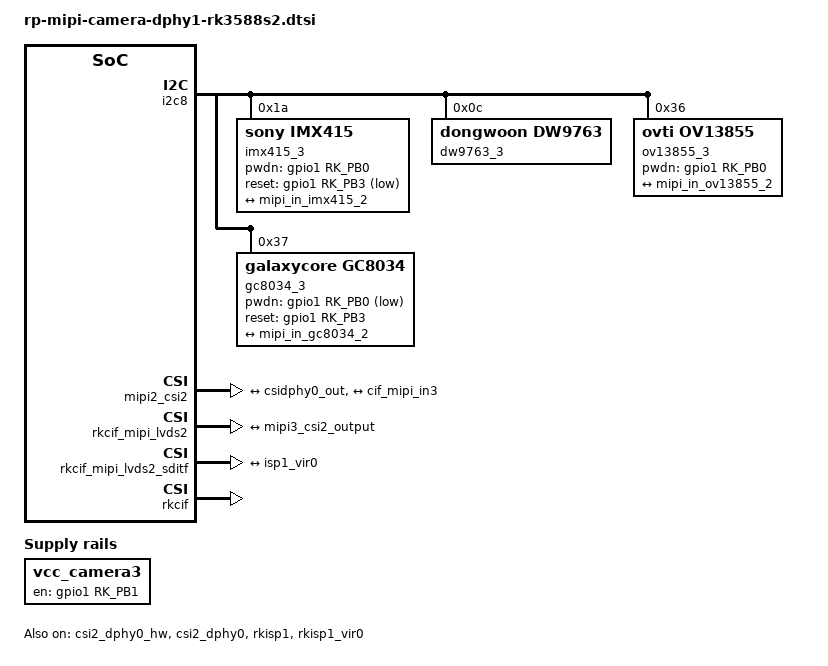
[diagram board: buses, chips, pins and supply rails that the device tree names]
/{
    vcc_camera3: vcc-camera-regulator3 {
                compatible = "regulator-fixed";
                gpio = <&gpio1 RK_PB1 GPIO_ACTIVE_HIGH>;
                pinctrl-names = "default";
                pinctrl-0 = <&camera_pwr3>;
                regulator-name = "vcc_camera3";
                enable-active-high;
                regulator-always-on;
                regulator-boot-on;
    };          
};
         
    &pinctrl {  
                camera_pwr3: camera-pwr3 {
                        rockchip,pins =
                                /* camera power en */
                                <1 RK_PB1 3 &pcfg_pull_down>;
                };
};

&i2c8 {
	status = "okay";
	pinctrl-names = "default";
	pinctrl-0 = <&i2c8m2_xfer>;
	
     imx415_3: imx415_3@1a {
        compatible = "sony,imx415";
        status = "okay";
        reg = <0x1a>;
        clocks = <&cru CLK_MIPI_CAMARAOUT_M2>;
        clock-names = "xvclk";
        power-domains = <&power RK3588_PD_VI>;
        pinctrl-names = "default";
        pinctrl-0 = <&mipim1_camera2_clk>;
        rockchip,grf = <&sys_grf>;
        pwdn-gpios = <&gpio1 RK_PB0 GPIO_ACTIVE_HIGH>;
        //power-gpios = <&gpio1 RK_PA4 GPIO_ACTIVE_HIGH>;
        reset-gpios = <&gpio1 RK_PB3 GPIO_ACTIVE_LOW>;
        rockchip,camera-module-index = <3>;
        rockchip,camera-module-facing = "BACK";
        rockchip,camera-module-name = "CMK-OT2022-PX1";
        rockchip,camera-module-lens-name = "IR0147-50IRC-8M-F20";
        port {
            imx415_out2: endpoint {
                remote-endpoint = <&mipi_in_imx415_2>;
                data-lanes = <1 2 3 4>;
            };
        };
    };
	
        dw9763_3: dw9763_3@c {
            compatible = "dongwoon,dw9763";
            status = "okay";
            reg = <0x0c>;
            rockchip,vcm-max-current = <120>;
            rockchip,vcm-start-current = <20>;
            rockchip,vcm-rated-current = <90>;
            rockchip,vcm-step-mode = <3>;
            rockchip,vcm-t-src = <0x20>;
            rockchip,vcm-t-div = <1>;
            rockchip,camera-module-index = <3>;
            rockchip,camera-module-facing = "back";
        };

        ov13855_3: ov13855_3@36 {
            compatible = "ovti,ov13855";
            status = "okay";
            reg = <0x36>;
            clocks = <&cru CLK_MIPI_CAMARAOUT_M2>;
            clock-names = "xvclk";
            power-domains = <&power RK3588_PD_VI>;
            pinctrl-names = "default";
            pinctrl-0 = <&mipim1_camera2_clk>;
            rockchip,grf = <&sys_grf>;
            pwdn-gpios = <&gpio1 RK_PB0 GPIO_ACTIVE_HIGH>;
            rockchip,camera-module-index = <3>;
            rockchip,camera-module-facing = "back";
            rockchip,camera-module-name = "CMK-OT2016-FV1";
            rockchip,camera-module-lens-name = "default";
            lens-focus = <&dw9763_3>;
            port {
                ov13855_out2: endpoint {
                    remote-endpoint = <&mipi_in_ov13855_2>;
                    data-lanes = <1 2 3 4>;
                };
            };
        };

	      gc8034_3: gc8034_3@37 {
                compatible = "galaxycore,gc8034";
                status = "okay";
                reg = <0x37>;
                clocks = <&cru CLK_MIPI_CAMARAOUT_M2>;
                clock-names = "xvclk";
                power-domains = <&power RK3588_PD_VI>;
                pinctrl-names = "default";
                pinctrl-0 = <&mipim1_camera2_clk>;
                rockchip,grf = <&sys_grf>;
                pwdn-gpios = <&gpio1 RK_PB0 GPIO_ACTIVE_LOW>;
				reset-gpios = <&gpio1 RK_PB3 GPIO_ACTIVE_HIGH>;
                rockchip,camera-module-index = <3>;
                rockchip,camera-module-facing = "back";
                rockchip,camera-module-name = "RK-CMK-8M-2-v1";
                rockchip,camera-module-lens-name = "CK8401-4";
                port {
                        gc8034_out2: endpoint {
                                remote-endpoint = <&mipi_in_gc8034_2>;
                                data-lanes = <1 2 3 4>;
                        };
                };
        };
};

&csi2_dphy0_hw {
    status = "okay";
};

&csi2_dphy0 {
	status = "okay";
	ports {
		#address-cells = <1>;
		#size-cells = <0>;
		port@0 {
			reg = <0>;
			#address-cells = <1>;
			#size-cells = <0>;
			mipi_in_imx415_2: endpoint@1 {
				reg = <1>;
				remote-endpoint = <&imx415_out2>;
				data-lanes = <1 2 3 4>;
			};
			mipi_in_ov13855_2: endpoint@2 {
                reg = <2>;
                remote-endpoint = <&ov13855_out2>;
                data-lanes = <1 2 3 4>;
            };
			mipi_in_gc8034_2: endpoint@3 {
                reg = <3>;
                remote-endpoint = <&gc8034_out2>;
                data-lanes = <1 2 3 4>;
            };
		};
		port@1 {
			reg = <1>;
			#address-cells = <1>;
			#size-cells = <0>;
			csidphy0_out: endpoint@0 {
				reg = <0>;
				remote-endpoint = <&mipi2_csi2_input>;
			};
		};
	};
};

&mipi2_csi2 {
	status = "okay";
	ports {
		#address-cells = <1>;
		#size-cells = <0>;
		port@0 {
			reg = <0>;
			#address-cells = <1>;
			#size-cells = <0>;
			mipi2_csi2_input: endpoint@1 {
				reg = <1>;
				remote-endpoint = <&csidphy0_out>;
			};
		};
		port@1 {
			reg = <1>;
			#address-cells = <1>;
			#size-cells = <0>;
			mipi3_csi2_output: endpoint@0 {
				reg = <0>;
				remote-endpoint = <&cif_mipi_in3>;
			};
		};
	};
};


&rkcif_mipi_lvds2 {
	status = "okay";

	port {
		cif_mipi_in3: endpoint {
			remote-endpoint = <&mipi3_csi2_output>;
		};
	};
};


&rkcif_mipi_lvds2_sditf {
	status = "okay";

	port {
		mipi2_lvds_sditf: endpoint {
			remote-endpoint = <&isp1_vir0>;
		};
	};
};

&rkcif {
        status = "okay";
};

&rkcif_mmu {
        status = "okay";
};

&rkisp1 {
	status = "okay";
};

&isp1_mmu {
	status = "okay";
};

&rkisp1_vir0 {
	status = "okay";

	port {
		#address-cells = <1>;
		#size-cells = <0>;

		isp1_vir0: endpoint@0 {
			reg = <0>;
			remote-endpoint = <&mipi2_lvds_sditf>;
		};
	};
};
